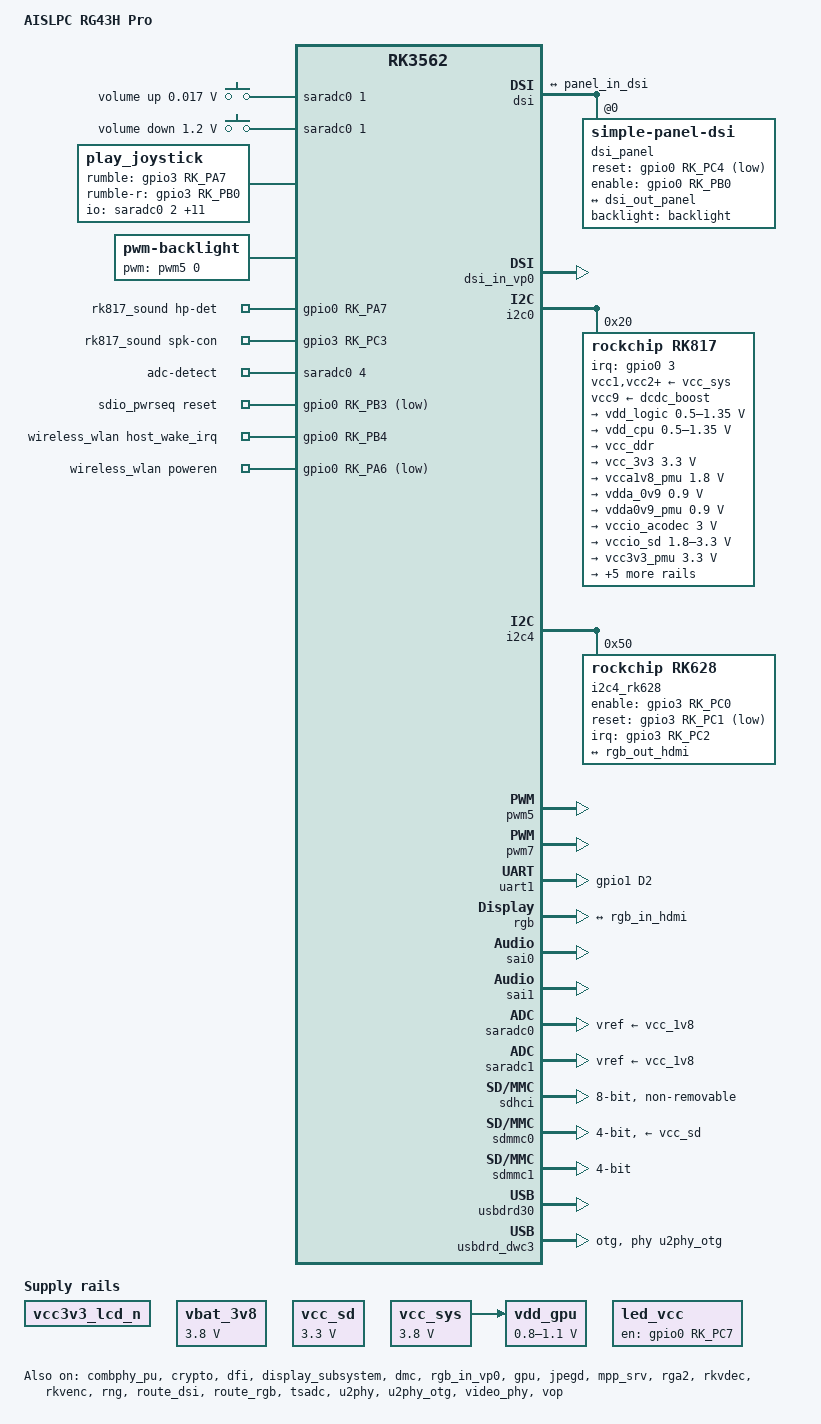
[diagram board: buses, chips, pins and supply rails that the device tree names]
// SPDX-License-Identifier: (GPL-2.0+ OR MIT)
/*
* Copyright (c) 2024 dArkOS Contributors
*
* Shared device tree include for dArkOS gaming handhelds based on
* Rockchip RK3562 with RK817 PMIC.  Included by both rk3562-rg52mini.dts
* (portrait 720x1280 panel) and rk3562-rg43h.dts (landscape 1024x768 panel).
*
* Per-device DTS files override:
*   - vcc3v3_lcd_n (gpios, enable-active-*, pinctrl-0)
*   - DSI panel (panel-init-sequence, display-timings, power-supply/enable-gpios, pinctrl-0)
*   - play_joystick node (entirely per-device)
*/

/dts-v1/;
#include "rk3562.dtsi"
#include "rk3562-linux.dtsi"
#include <dt-bindings/display/drm_mipi_dsi.h>
#include <dt-bindings/gpio/gpio.h>
#include <dt-bindings/input/input.h>
#include <dt-bindings/pinctrl/rockchip.h>

/ {
	model = "AISLPC RG43H Pro";
	compatible = "aislpc,rg43h-pro", "rockchip,rk3562";
	
	adc_keys: adc-keys {
		compatible = "adc-keys";
		io-channels = <&saradc0 1>;
		io-channel-names = "buttons";
		keyup-threshold-microvolt = <1800000>;
		poll-interval = <100>;
		/* 音量键长按自动重复 (arkos4clone 4.4 同款; 5.10 adc-keys.c
		* 原生支持该属性, EV_REP 走 input 核心默认 500ms/33ms 节奏) */
		autorepeat;
		
		vol-up-key {
			linux,code = <KEY_VOLUMEUP>;
			label = "volume up";
			press-threshold-microvolt = <17000>;
		};
		
		vol-down-key {
			linux,code = <KEY_VOLUMEDOWN>;
			label = "volume down";
			press-threshold-microvolt = <1200000>;
		};
	};
	
	play_joystick {
		compatible = "play_joystick";
		pinctrl-names = "default";
		pinctrl-0 = <&gpio_key_pin &moto_gpio &moto_r_gpio>;
		
		/* 摇杆轴 + 模拟扳机 + ADC 面键通道 (ADC 键通道名 = 子节点名) */
		io-channels = <&saradc0 2>, <&saradc0 3>,
		<&saradc0 5>, <&saradc0 6>,
		<&saradc1 1>, <&saradc1 4>,
		<&saradc1 0>, <&saradc1 2>, <&saradc1 3>,
		<&saradc1 5>, <&saradc1 6>, <&saradc1 7>;
		io-channel-names = "joy_x", "joy_y", "joy_rx", "joy_ry",
		"l2-abs", "r2-abs",
		"left-key", "right-key", "down-key",
		"b-key", "x-key", "y-key";
		
		poll-interval = <16>;
		axis-min-value-mv = <250>;
		axis-max-value-mv = <1550>;
		axis-dead-zone-l = <790>;
		axis-dead-zone-h = <1010>;
		l2-r2-max-value-mv = <800>;
		invert-absx;
		invert-absy;
		
		/* 振动马达 (左/右) */
		rumble-gpios = <&gpio3 RK_PA7 GPIO_ACTIVE_HIGH>;
		rumble-r-gpios = <&gpio3 RK_PB0 GPIO_ACTIVE_HIGH>;
		
	sw1 { label = "BTN_L1"; gpios = <&gpio1 RK_PC7 GPIO_ACTIVE_LOW>; linux,code = <BTN_TL>; };
	sw2 { label = "BTN_R1"; gpios = <&gpio1 RK_PD5 GPIO_ACTIVE_LOW>; linux,code = <BTN_TR>; };
		/* A (East) 是 GPIO; 物理 B (South) 走 ADC b-key —
		* 方位正确: East 发 EAST, South 发 SOUTH */
	sw3 { label = "BTN_A"; gpios = <&gpio1 RK_PD6 GPIO_ACTIVE_LOW>; linux,code = <BTN_EAST>; };
	sw4 { label = "BTN_SELECT"; gpios = <&gpio1 RK_PD3 GPIO_ACTIVE_LOW>; linux,code = <BTN_SELECT>; };
	sw5 { label = "BTN_START"; gpios = <&gpio1 RK_PD7 GPIO_ACTIVE_LOW>; linux,code = <BTN_START>; };
	sw6 { label = "BTN_HOME"; gpios = <&gpio1 RK_PD4 GPIO_ACTIVE_LOW>; linux,code = <BTN_MODE>; };
	sw7 { label = "BTN_L3"; gpios = <&gpio0 RK_PC5 GPIO_ACTIVE_LOW>; linux,code = <BTN_THUMBL>; };
	sw8 { label = "BTN_R3"; gpios = <&gpio0 RK_PC6 GPIO_ACTIVE_LOW>; linux,code = <BTN_THUMBR>; };
	sw9 { label = "BTN_DPAD_UP"; gpios = <&gpio1 RK_PD0 GPIO_ACTIVE_LOW>; linux,code = <BTN_DPAD_UP>; };
		
		/* ADC 电阻梯面键 (通道名 = 节点名) — RG43H 阈值较宽 (600mV) */
	left-key { label = "BTN_DPAD_LEFT"; linux,code = <BTN_DPAD_LEFT>; press-threshold-microvolt = <600000>; };
	right-key { label = "BTN_DPAD_RIGHT"; linux,code = <BTN_DPAD_RIGHT>; press-threshold-microvolt = <600000>; };
	down-key { label = "BTN_DPAD_DOWN"; linux,code = <BTN_DPAD_DOWN>; press-threshold-microvolt = <600000>; };
	b-key { label = "BTN_B"; linux,code = <BTN_SOUTH>; press-threshold-microvolt = <600000>; };
	x-key { label = "BTN_X"; linux,code = <BTN_NORTH>; press-threshold-microvolt = <600000>; };
	y-key { label = "BTN_Y"; linux,code = <BTN_WEST>; press-threshold-microvolt = <600000>; };
	};
	
	backlight: backlight {
		compatible = "pwm-backlight";
		pwms = <&pwm5 0 25000 0>;
		brightness-levels = <
		0  20  20  21  21  22  22  23
		23  24  24  25  25  26  26  27
		27  28  28  29  29  30  30  31
		31  32  32  33  33  34  34  35
		35  36  36  37  37  38  38  39
		40  41  42  43  44  45  46  47
		48  49  50  51  52  53  54  55
		56  57  58  59  60  61  62  63
		64  65  66  67  68  69  70  71
		72  73  74  75  76  77  78  79
		80  81  82  83  84  85  86  87
		88  89  90  91  92  93  94  95
		96  97  98  99 100 101 102 103
		104 105 106 107 108 109 110 111
		112 113 114 115 116 117 118 119
		120 121 122 123 124 125 126 127
		128 129 130 131 132 133 134 135
		136 137 138 139 140 141 142 143
		144 145 146 147 148 149 150 151
		152 153 154 155 156 157 158 159
		160 161 162 163 164 165 166 167
		168 169 170 171 172 173 174 175
		176 177 178 179 180 181 182 183
		184 185 186 187 188 189 190 191
		192 193 194 195 196 197 198 199
		200 201 202 203 204 205 206 207
		208 209 210 211 212 213 214 215
		216 217 218 219 220 221 222 223
		224 225 226 227 228 229 230 231
		232 233 234 235 236 237 238 239
		240 241 242 243 244 245 246 247
		248 249 250 251 252 253 254 255
		>;
		default-brightness-level = <200>;
	};

	power-leds {
		compatible = "led-3562";
		battery-threshold = <20>;

		led-red {
			label = "red";
			gpios = <&gpio3 RK_PA1 GPIO_ACTIVE_HIGH>;
			on-below-threshold;
		};

		led-green {
			label = "green";
			gpios = <&gpio3 RK_PA0 GPIO_ACTIVE_HIGH>;
		};

	};
	
	pdm_codec: dummy-codec {
		status = "okay";
		compatible = "rockchip,dummy-codec";
		#sound-dai-cells = <0>;
	};
	
	pdm_mic_array: pdm-mic-array {
		status = "disabled";
		compatible = "simple-audio-card";
		simple-audio-card,name = "rockchip,pdm-mic-array";
		
		simple-audio-card,cpu {
			sound-dai = <&pdm>;
		};
		
		simple-audio-card,codec {
			sound-dai = <&pdm_codec>;
		};
	};
	
	spdif_out: spdif-out {
		status = "disabled";
		compatible = "linux,spdif-dit";
		#sound-dai-cells = <0>;
	};
	
	spdif_sound: spdif-sound {
		status = "disabled";
		compatible = "simple-audio-card";
		simple-audio-card,name = "rk-spdif-sound";
		simple-audio-card,mclk-fs = <128>;
		
		simple-audio-card,cpu {
			sound-dai = <&spdif_8ch>;
		};
		
		simple-audio-card,codec {
			sound-dai = <&spdif_out>;
		};
	};
	
	test-power {
		status = "okay";
	};
	
	/*
	* LCD voltage regulator skeleton.  Per-device DTS files add gpios,
	* enable-active-low/high, pinctrl-0, and status = "okay".
	*/
	vcc3v3_lcd_n: vcc3v3-lcd0-n {
		compatible = "regulator-fixed";
		regulator-name = "vcc3v3_lcd_n";
		regulator-boot-on;
		
		regulator-state-mem {
			regulator-off-in-suspend;
		};
	};
	
	rk817_sound: rk817-sound {
		status = "okay";
		compatible = "rockchip,multicodecs-card";
		rockchip,card-name = "rockchip-rk817";
		hp-det-gpio = <&gpio0 RK_PA7 GPIO_ACTIVE_HIGH>;
		io-channels = <&saradc0 4>;
		io-channel-names = "adc-detect";
		keyup-threshold-microvolt = <1800000>;
		poll-interval = <100>;
		rockchip,format = "i2s";
		rockchip,mclk-fs = <256>;
		rockchip,cpu = <&sai0>;
		rockchip,codec = <&rk817_codec>;
		pinctrl-names = "default";
		spk-con-gpios = <&gpio3 RK_PC3 GPIO_ACTIVE_HIGH>;
		pinctrl-0 = <&hp_det &hp_con>;
		rockchip,audio-routing =
		"Headphone", "HPOL",
		"Headphone", "HPOR",
		"Speaker", "HPOL",
		"Speaker", "HPOR";
		
		play-pause-key {
			label = "playpause";
			linux,code = <KEY_PLAYPAUSE>;
			press-threshold-microvolt = <2000>;
		};
	};
	
	rk628_sound: rk628-sound {
		compatible = "simple-audio-card";
		simple-audio-card,format = "i2s";
		simple-audio-card,mclk-fs = <128>;
		simple-audio-card,name = "rockchip,hdmi-rk628";
		status = "okay";
		
		simple-audio-card,cpu {
			sound-dai = <&sai1>;
		};
		
		simple-audio-card,codec {
			sound-dai = <&i2c4_rk628>;
		};
	};
	
	sdio_pwrseq: sdio-pwrseq {
		compatible = "mmc-pwrseq-simple";
		clocks = <&rk817 1>;
		clock-names = "ext_clock";
		pinctrl-names = "default";
		pinctrl-0 = <&wifi_enable_h>;
		post-power-on-delay-ms = <200>;
		reset-gpios = <&gpio0 RK_PB3 GPIO_ACTIVE_LOW>;
	};
	
	vbat_3v8: vbat-3v8 {
		compatible = "regulator-fixed";
		regulator-name = "vbat_3v8";
		regulator-always-on;
		regulator-boot-on;
		regulator-min-microvolt = <3800000>;
		regulator-max-microvolt = <3800000>;
	};
	
	vcc_sd: vcc-sd {
		compatible = "regulator-gpio";
		enable-active-low;
		regulator-boot-on;
		gpios = <&gpio0 RK_PA5 GPIO_ACTIVE_LOW>;
		regulator-min-microvolt = <3300000>;
		regulator-max-microvolt = <3300000>;
		pinctrl-names = "default";
		pinctrl-0 = <&vcc_sd_h>;
		regulator-name = "vcc_sd";
		states = <0 0x0
		3300000 0x1>;
	};
	
	vcc_sys: vcc-sys {
		compatible = "regulator-fixed";
		regulator-name = "vcc_sys";
		regulator-always-on;
		regulator-boot-on;
		regulator-min-microvolt = <3800000>;
		regulator-max-microvolt = <3800000>;
	};
	
	vdd_gpu: vdd-gpu {
		compatible = "pwm-regulator";
		pwms = <&pwm7 0 5000 1>;
		regulator-name = "vdd_gpu";
		regulator-min-microvolt = <800000>;
		regulator-max-microvolt = <1100000>;
		regulator-init-microvolt = <900000>;
		regulator-always-on;
		regulator-boot-on;
		regulator-settling-time-up-us = <250>;
		pwm-supply = <&vcc_sys>;
		status = "okay";
	};
	
	vdd_npu: vdd-npu {
		compatible = "pwm-regulator";
		pwms = <&pwm6 0 5000 1>;
		regulator-name = "vdd_npu";
		regulator-min-microvolt = <800000>;
		regulator-max-microvolt = <1100000>;
		regulator-init-microvolt = <900000>;
		regulator-settling-time-up-us = <250>;
		pwm-supply = <&vcc_sys>;
		status = "disabled";
	};
	
	led_vcc: led-vcc {
		compatible = "regulator-fixed";
		regulator-name = "vcc-led";
		pinctrl-0 = <&led_en_gpio>;
		pinctrl-names = "default";
		gpios = <&gpio0 RK_PC7 GPIO_ACTIVE_HIGH>;
		enable-active-high;
	};
	
	wireless_wlan: wireless-wlan {
		compatible = "wlan-platdata";
		rockchip,grf = <&sys_grf>;
		/* Rev A is RK915, rev B is AIC8800D80. rfkill is the only consumer
		* and only prefix-matches "rtl..."; aic8800 binds by SDIO vendor ID.
		* "aic8800D80" matches the silicon (fmacfw_8800d80_h_u02.bin). */
		wifi_chip_type = "aic8800D80";
		pinctrl-names = "default";
		pinctrl-0 = <&wifi_host_wake_irq &wifi_poweren_gpio>;
		WIFI,host_wake_irq = <&gpio0 RK_PB4 GPIO_ACTIVE_HIGH>;
		WIFI,poweren_gpio = <&gpio0 RK_PA6 GPIO_ACTIVE_LOW>;
		sdio_vref = <1800>;
		status = "okay";
	};
	
	wireless-bluetooth {
		compatible = "bluetooth-platdata";
		status = "disabled";
	};
	
	charge_anim: charge-animation {
		compatible = "rockchip,uboot-charge";
		rockchip,uboot-charge-on = <1>;
		rockchip,android-charge-on = <0>;
		rockchip,uboot-low-power-voltage = <3450>;
		rockchip,screen-on-voltage = <3500>;
		status = "okay";
	};
	
	rockchip_suspend: rockchip-suspend {
		compatible = "rockchip,pm-rk3562";
		status = "disabled";
		rockchip,sleep-debug-en = <1>;
		rockchip,sleep-mode-config = <0x5e2>;
		rockchip,wakeup-config = <0x10>;
	};
};

/* ---- SoC peripheral enables ------------------------------------------- */

&cpu0 {
	cpu-supply = <&vdd_cpu>;
};

&combphy_pu {
	status = "okay";
};

&crypto {
	status = "okay";
};

&dfi {
	status = "okay";
};

&display_subsystem {
	status = "okay";
};

&dmc {
	center-supply = <&vdd_logic>;
	status = "okay";
};

&dsi {
	status = "okay";
	
	dsi_panel: panel@0 {
		status = "okay";
		compatible = "simple-panel-dsi";
		reg = <0>;
		backlight = <&backlight>;
		reset-delay-ms = <20>;
		enable-delay-ms = <120>;
		prepare-delay-ms = <20>;
		unprepare-delay-ms = <20>;
		disable-delay-ms = <20>;
		init-delay-ms = <20>;
		width-mm = <68>;
		height-mm = <121>;
		dsi,flags = <(MIPI_DSI_MODE_VIDEO | MIPI_DSI_MODE_VIDEO_BURST |
		MIPI_DSI_MODE_LPM | MIPI_DSI_MODE_EOT_PACKET)>;
		dsi,format = <MIPI_DSI_FMT_RGB888>;
		dsi,lanes = <4>;
		reset-gpios = <&gpio0 RK_PC4 GPIO_ACTIVE_LOW>;
		pinctrl-names = "default";
		pinctrl-0 = <&lcd_rst_gpio &lcd_powerctrl_gpio>;
		enable-gpios = <&gpio0 RK_PB0 GPIO_ACTIVE_HIGH>;
		
		panel-init-sequence = [
		15 00 02 ee 01
		15 00 02 ea 07
		15 00 02 eb 12
		15 00 02 0a 5e
		15 00 02 13 14
		15 00 02 17 35
		15 00 02 1d 33
		15 00 02 21 01
		15 00 02 28 28
		15 00 02 29 18
		15 00 02 2a 63
		15 00 02 2f f3
		15 00 02 ee 02
		15 00 02 39 a9
		15 00 02 00 00
		15 00 02 01 0d
		15 00 02 02 12
		15 00 02 03 08
		15 00 02 04 0e
		15 00 02 05 30
		15 00 02 06 0b
		15 00 02 07 0e
		15 00 02 08 0f
		15 00 02 09 0e
		15 00 02 0a 11
		15 00 02 0b 4e
		15 00 02 0c 14
		15 00 02 0d 1a
		15 00 02 0e 2f
		15 00 02 0f 36
		15 00 02 10 3f
		15 00 02 20 00
		15 00 02 21 0d
		15 00 02 22 12
		15 00 02 23 08
		15 00 02 24 0e
		15 00 02 25 30
		15 00 02 26 0b
		15 00 02 27 0e
		15 00 02 28 0f
		15 00 02 29 0e
		15 00 02 2a 11
		15 00 02 2b 4e
		15 00 02 2c 14
		15 00 02 2d 1a
		15 00 02 2e 2f
		15 00 02 2f 36
		15 00 02 30 3f
		15 00 02 ee 04
		15 00 02 00 05
		15 00 02 01 01
		15 00 02 02 80
		15 00 02 03 04
		15 00 02 04 00
		15 00 02 06 06
		15 00 02 07 05
		15 00 02 08 1a
		15 00 02 09 20
		15 00 02 0a 0e
		15 00 02 0b 00
		15 00 02 20 40
		15 00 02 24 08
		15 00 02 ee 05
		15 00 02 00 01
		15 00 02 01 09
		15 00 02 02 05
		15 00 02 03 05
		15 00 02 07 05
		15 00 02 08 0d
		15 00 02 09 00
		15 00 02 0a 12
		15 00 02 0b 14
		15 00 02 0c 66
		15 00 02 10 03
		15 00 02 11 07
		15 00 02 12 05
		15 00 02 13 05
		15 00 02 19 12
		15 00 02 1a f6
		15 00 02 40 55
		15 00 02 41 00
		15 00 02 43 03
		15 00 02 44 01
		15 00 02 45 81
		15 00 02 46 06
		15 00 02 47 00
		15 00 02 ee 06
		15 00 02 00 45
		15 00 02 02 01
		15 00 02 04 88
		15 00 02 06 cd
		15 00 02 08 ef
		15 00 02 09 cd
		15 00 02 0a ab
		15 00 02 0b 89
		15 00 02 0c 67
		15 00 02 0d 45
		15 00 02 0e 23
		15 00 02 0f 01
		15 00 02 ee 07
		15 00 02 00 3c
		15 00 02 01 3c
		15 00 02 02 3c
		15 00 02 03 3c
		15 00 02 04 0d
		15 00 02 05 3c
		15 00 02 06 3c
		15 00 02 07 3c
		15 00 02 08 08
		15 00 02 09 10
		15 00 02 0a 12
		15 00 02 0b 14
		15 00 02 0c 16
		15 00 02 0d 18
		15 00 02 0e 1a
		15 00 02 0f 1c
		15 00 02 10 1e
		15 00 02 11 04
		15 00 02 12 00
		15 00 02 13 3c
		15 00 02 14 0c
		15 00 02 15 3c
		15 00 02 20 3c
		15 00 02 21 3c
		15 00 02 22 3c
		15 00 02 23 3c
		15 00 02 24 0d
		15 00 02 25 3c
		15 00 02 26 3c
		15 00 02 27 3c
		15 00 02 28 08
		15 00 02 29 11
		15 00 02 2a 13
		15 00 02 2b 15
		15 00 02 2c 17
		15 00 02 2d 19
		15 00 02 2e 1b
		15 00 02 2f 1d
		15 00 02 30 1f
		15 00 02 31 05
		15 00 02 32 01
		15 00 02 33 3c
		15 00 02 34 0c
		15 00 02 35 3c
		15 00 02 ee 08
		15 00 02 10 00
		15 00 02 12 dc
		15 00 02 13 1c
		15 00 02 17 23
		15 00 02 18 20
		15 00 02 20 80
		15 00 02 ee 0f
		15 00 02 00 01
		15 00 02 01 00
		15 00 02 ee 00
		15 00 02 ea 00
		15 00 02 eb 00
		15 00 02 36 00
		05 c8 01 11
		05 14 01 29
		];
		
		/*
		* panel-init-sequence, power-supply / enable-gpios, and
		* pinctrl-0 are set per-device.
		*/
		
		panel-exit-sequence = [
		05 00 01 28
		05 00 01 10
		];
		
		disp_timings0: display-timings {
			native-mode = <&dsi_timing0>;
			
			/* Defaults from RG52 Mini; overridden per-device */
			dsi_timing0: timing0 {
				clock-frequency = <61152000>;
				hactive = <1024>;
				vactive = <768>;
				hfront-porch = <90>;
				hsync-len = <80>;
				hback-porch = <80>;
				vfront-porch = <16>;
				vsync-len = <8>;
				vback-porch = <8>;
				hsync-active = <0>;
				vsync-active = <0>;
				de-active = <0>;
				pixelclk-active = <0>;
			};
		};
		
		ports {
			#address-cells = <1>;
			#size-cells = <0>;
			
			port@0 {
				reg = <0>;
				
				panel_in_dsi: endpoint {
					remote-endpoint = <&dsi_out_panel>;
				};
			};
		};
	};
	
	ports {
		#address-cells = <1>;
		#size-cells = <0>;
		
		port@1 {
			reg = <1>;
			
			dsi_out_panel: endpoint {
				remote-endpoint = <&panel_in_dsi>;
			};
		};
	};
};

&dsi_in_vp0 {
	status = "okay";
};

&rgb_in_vp0 {
	status = "okay";
};

&gpu {
	status = "okay";
	mali-supply = <&vdd_gpu>;
};

&i2c0 {
	status = "okay";
	
	rk817: pmic@20 {
		compatible = "rockchip,rk817";
		reg = <0x20>;
		interrupt-parent = <&gpio0>;
		interrupts = <3 IRQ_TYPE_LEVEL_LOW>;
		
		pinctrl-names = "default", "pmic-sleep",
		"pmic-power-off", "pmic-reset";
		pinctrl-0 = <&pmic_int>;
		pinctrl-1 = <&soc_slppin_slp>, <&rk817_slppin_slp>;
		pinctrl-2 = <&soc_slppin_gpio>, <&rk817_slppin_pwrdn>;
		pinctrl-3 = <&soc_slppin_gpio>, <&rk817_slppin_rst>;
		rockchip,system-power-controller;
		wakeup-source;
		#clock-cells = <1>;
		clock-output-names = "rk808-clkout1", "rk808-clkout2";
		/* 1: rst regs (default in codes), 0: rst the pmic */
		pmic-reset-func = <0>;
		vcc1-supply = <&vcc_sys>;
		vcc2-supply = <&vcc_sys>;
		vcc3-supply = <&vcc_sys>;
		vcc4-supply = <&vcc_sys>;
		vcc5-supply = <&vcc_sys>;
		vcc6-supply = <&vcc_sys>;
		vcc7-supply = <&vcc_sys>;
		vcc8-supply = <&vcc_sys>;
		vcc9-supply = <&dcdc_boost>;
		pwrkey {
			status = "okay";
		};
		
		pinctrl_rk8xx: pinctrl_rk8xx {
			gpio-controller;
			#gpio-cells = <2>;
			
			rk817_slppin_null: rk817_slppin_null {
				pins = "gpio_slp";
				function = "pin_fun0";
			};
			
			rk817_slppin_slp: rk817_slppin_slp {
				pins = "gpio_slp";
				function = "pin_fun1";
			};
			
			rk817_slppin_pwrdn: rk817_slppin_pwrdn {
				pins = "gpio_slp";
				function = "pin_fun2";
			};
			
			rk817_slppin_rst: rk817_slppin_rst {
				pins = "gpio_slp";
				function = "pin_fun3";
			};
			
			
			rk817_ts_gpio1: rk817_ts_gpio1 {
				pins = "gpio_ts";
				function = "pin_fun1";
			};
			
			rk817_pin_ts: rk817_pin_ts {
				pins = "gpio_ts";
				function = "pin_fun0";
			};
		};
		
		regulators {
			vdd_logic: DCDC_REG1 {
				regulator-always-on;
				regulator-boot-on;
				regulator-min-microvolt = <500000>;
				regulator-max-microvolt = <1350000>;
				regulator-init-microvolt = <950000>;
				regulator-ramp-delay = <6001>;
				regulator-initial-mode = <0x2>;
				regulator-name = "vdd_logic";
				regulator-state-mem {
					regulator-off-in-suspend;
					regulator-suspend-microvolt = <900000>;
				};
			};
			
			vdd_cpu: DCDC_REG2 {
				regulator-always-on;
				regulator-boot-on;
				regulator-min-microvolt = <500000>;
				regulator-max-microvolt = <1350000>;
				regulator-init-microvolt = <1050000>;
				regulator-ramp-delay = <6001>;
				regulator-initial-mode = <0x2>;
				regulator-name = "vdd_cpu";
				regulator-state-mem {
					regulator-off-in-suspend;
				};
			};
			
			vcc_ddr: DCDC_REG3 {
				regulator-always-on;
				regulator-boot-on;
				regulator-initial-mode = <0x2>;
				regulator-name = "vcc_ddr";
				regulator-state-mem {
					regulator-on-in-suspend;
				};
			};
			
			vcc_3v3: DCDC_REG4 {
				regulator-always-on;
				regulator-boot-on;
				regulator-min-microvolt = <3300000>;
				regulator-max-microvolt = <3300000>;
				regulator-initial-mode = <0x2>;
				regulator-name = "vcc_3v3";
				regulator-state-mem {
					regulator-on-in-suspend;
					regulator-suspend-microvolt = <3300000>;
				};
			};
			
			vcca1v8_pmu: LDO_REG1 {
				regulator-always-on;
				regulator-boot-on;
				regulator-min-microvolt = <1800000>;
				regulator-max-microvolt = <1800000>;
				regulator-name = "vcca1v8_pmu";
				regulator-state-mem {
					regulator-on-in-suspend;
					regulator-suspend-microvolt = <1800000>;
				};
			};
			
			vdda_0v9: LDO_REG2 {
				regulator-always-on;
				regulator-boot-on;
				regulator-min-microvolt = <900000>;
				regulator-max-microvolt = <900000>;
				regulator-name = "vdda_0v9";
				regulator-state-mem {
					regulator-off-in-suspend;
				};
			};
			
			vdda0v9_pmu: LDO_REG3 {
				regulator-always-on;
				regulator-boot-on;
				regulator-min-microvolt = <900000>;
				regulator-max-microvolt = <900000>;
				regulator-name = "vdda0v9_pmu";
				regulator-state-mem {
					regulator-on-in-suspend;
					regulator-suspend-microvolt = <900000>;
				};
			};
			
			vccio_acodec: LDO_REG4 {
				regulator-always-on;
				regulator-boot-on;
				regulator-min-microvolt = <3000000>;
				regulator-max-microvolt = <3000000>;
				regulator-name = "vccio_acodec";
				regulator-state-mem {
					regulator-off-in-suspend;
				};
			};
			
			vccio_sd: LDO_REG5 {
				regulator-always-on;
				regulator-boot-on;
				regulator-min-microvolt = <1800000>;
				regulator-max-microvolt = <3300000>;
				regulator-name = "vccio_sd";
				regulator-state-mem {
					regulator-off-in-suspend;
				};
			};
			
			vcc3v3_pmu: LDO_REG6 {
				regulator-always-on;
				regulator-boot-on;
				regulator-min-microvolt = <3300000>;
				regulator-max-microvolt = <3300000>;
				regulator-name = "vcc3v3_pmu";
				regulator-state-mem {
					regulator-on-in-suspend;
					regulator-suspend-microvolt = <3000000>;
				};
			};
			
			vcc_1v8: LDO_REG7 {
				regulator-always-on;
				regulator-boot-on;
				regulator-min-microvolt = <1800000>;
				regulator-max-microvolt = <1800000>;
				regulator-name = "vcc_1v8";
				regulator-state-mem {
					regulator-off-in-suspend;
				};
			};
			
			vcc1v8_dvp: LDO_REG8 {
				regulator-min-microvolt = <1800000>;
				regulator-max-microvolt = <1800000>;
				regulator-name = "vcc1v8_dvp";
				regulator-state-mem {
					regulator-off-in-suspend;
				};
			};
			
			vcc2v8_dvp: LDO_REG9 {
				regulator-min-microvolt = <2800000>;
				regulator-max-microvolt = <2800000>;
				regulator-name = "vcc2v8_dvp";
				regulator-state-mem {
					regulator-off-in-suspend;
				};
			};
			
			dcdc_boost: BOOST {
				regulator-always-on;
				regulator-boot-on;
				regulator-min-microvolt = <4700000>;
				regulator-max-microvolt = <5400000>;
				regulator-name = "boost";
				regulator-state-mem {
					regulator-off-in-suspend;
				};
			};
			
			otg_switch: OTG_SWITCH {
				regulator-name = "otg_switch";
				regulator-state-mem {
					regulator-off-in-suspend;
				};
			};
		};
		battery {
			compatible = "rk817,battery";
			ocv_table = <3500 3529 3570 3605 3644 3687 3738 3789
			3823 3847 3871 3903 3926 3957 3999 4027
			4036 4041 4054 4090 4175>;
			design_capacity = <2906>;
			design_qmax = <3197>;
			bat_res = <102>;
			sleep_enter_current = <300>;
			sleep_exit_current = <300>;
			sleep_filter_current = <100>;
			power_off_thresd = <3500>;
			zero_algorithm_vol = <3850>;
			max_soc_offset = <60>;
			monitor_sec = <5>;
			sample_res = <10>;
			virtual_power = <0>;
		};
		
		charger {
			compatible = "rk817,charger";
			min_input_voltage = <4500>;
			max_input_current = <1500>;
			max_chrg_current = <1500>;
			max_chrg_voltage = <4280>;
			chrg_term_mode = <0>;
			chrg_finish_cur = <300>;
			virtual_power = <0>;
			dc_det_adc = <0>;
			otg5v_suspend_enable = <1>;
			extcon = <&u2phy>;
			gate_function_disable = <1>;
		};
		rk817_codec: codec {
			#sound-dai-cells = <0>;
			compatible = "rockchip,rk817-codec";
			clocks = <&mclkout_sai0>;
			clock-names = "mclk";
			assigned-clocks = <&mclkout_sai0>;
			assigned-clock-rates = <12288000>;
			pinctrl-names = "default";
			pinctrl-0 = <&i2s0m0_mclk>;
			spk-volume = <3>;
			mic-in-differential;
			use-ext-amplifier;
			hp2extamplifier;
			hp-mute-delay-ms = <100>;
			hp-volume = <60>;
			status = "okay";
		};
	};
};

&i2c4 {
	status = "okay";
	
	i2c4_rk628: rk628@50 {
		status = "okay";
		compatible = "rockchip,rk628";
		reg = <0x50>;
		#sound-dai-cells = <0>;
		interrupt-parent = <&gpio3>;
		interrupts = <RK_PC2 IRQ_TYPE_LEVEL_HIGH>;
		enable-gpios = <&gpio3 RK_PC0 GPIO_ACTIVE_HIGH>;
		reset-gpios = <&gpio3 RK_PC1 GPIO_ACTIVE_LOW>;
		pinctrl-names = "default";
		pinctrl-0 = <&rk628_reset &refclk_pins>;
		assigned-clocks = <&cru CLK_PMU1_WIFI>;
		assigned-clock-rates = <24000000>;
		clocks = <&cru CLK_PMU1_WIFI>;
		clock-names = "soc_24M";
		rk628-rgb-in;
		rk628-hdmi-out;
		
		port {
			rgb_in_hdmi: endpoint {
				remote-endpoint = <&rgb_out_hdmi>;
			};
		};
	};
};

&jpegd {
	status = "okay";
};

&jpegd_mmu {
	status = "okay";
};

&mpp_srv {
	status = "okay";
};

/* pwm4 is enabled per-device -- only the RG52 Mini uses it (chassis fan).
* RG43H Pro has no fan, so we don't claim GPIO1_D1 there. */

&pwm5 {
	status = "okay";
};

/* pwm6 left disabled — drives vdd_npu, NPU is unused */

&pwm7 {
	status = "okay";
};

/* uart1 (ttyS1) -- TX-only serial link to the analog-stick RGB LED MCU.
* Enabled on both devices; the LED feature itself is OFF by default (the
* vcc-led rail stays down until the user turns it on from Options > LED
* Settings). Only uart1_tx is muxed (see mcu_uart_tx) so the RG52 Mini fan
* keeps GPIO1_D1. /usr/local/bin/ledctl drives it at 9600 8N1. */
&uart1 {
	pinctrl-names = "default";
	pinctrl-0 = <&mcu_uart_tx>;
	status = "okay";
};

&rga2 {
	status = "okay";
};

&rga2_mmu {
	status = "okay";
};

/* rknpu + rknpu_mmu left disabled — NPU is unused, saves power */

&rkvdec {
	status = "okay";
};

&rkvdec_mmu {
	status = "okay";
};

&rkvenc {
	status = "okay";
};

&rkvenc_mmu {
	status = "okay";
};

&rng {
	status = "okay";
};

&route_dsi {
	status = "okay";
};

&route_rgb {
	status = "okay";
};

&rgb {
	status = "okay";
	pinctrl-names = "default";
	pinctrl-0 = <&rgb666_pins>;
	
	ports {
		port@1 {
			reg = <1>;
			
			rgb_out_hdmi: endpoint {
				remote-endpoint = <&rgb_in_hdmi>;
			};
		};
	};
};

&sai0 {
	status = "okay";
	pinctrl-names = "default";
	pinctrl-0 = <&i2s0m0_lrck
	&i2s0m0_sclk
	&i2s0m0_sdi0
	&i2s0m0_sdo0>;
};

&sai1 {
	status = "okay";
	pinctrl-names = "default";
	pinctrl-0 = <&i2s1m0_lrck
	&i2s1m0_sclk
	&i2s1m0_sdi0
	&i2s1m0_sdo0>;
};

&saradc0 {
	status = "okay";
	vref-supply = <&vcc_1v8>;
};

&saradc1 {
	status = "okay";
	vref-supply = <&vcc_1v8>;
};

&sdhci {
	bus-width = <8>;
	no-sdio;
	no-sd;
	non-removable;
	max-frequency = <200000000>;
	mmc-hs400-1_8v;
	mmc-hs400-enhanced-strobe;
	full-pwr-cycle-in-suspend;
	status = "okay";
};

&sdmmc0 {
	no-sdio;
	no-mmc;
	bus-width = <4>;
	cap-mmc-highspeed;
	cap-sd-highspeed;
	disable-wp;
	sd-uhs-sdr104;
	vmmc-supply = <&vcc_sd>;
	vqmmc-supply = <&vccio_sd>;
	pinctrl-names = "default";
	pinctrl-0 = <&sdmmc0_bus4 &sdmmc0_clk &sdmmc0_cmd &sdmmc0_det>;
	status = "okay";
};

&sdmmc1 {
	no-sd;
	no-mmc;
	bus-width = <4>;
	disable-wp;
	cap-sd-highspeed;
	cap-sdio-irq;
	keep-power-in-suspend;
	mmc-pwrseq = <&sdio_pwrseq>;
	broken-cd;
	pinctrl-names = "default";
	pinctrl-0 = <&sdmmc1_bus4 &sdmmc1_cmd &sdmmc1_clk>;
	sd-uhs-sdr104;
	supports-sdio;
	supports-rk912;
	status = "okay";
};

&tsadc {
	status = "okay";
};

&u2phy {
	status = "okay";
};

&u2phy_host {
	status = "disabled";
};

&u2phy_otg {
	status = "okay";
};

&usb_host0_ehci {
	status = "disabled";
};

&usb_host0_ohci {
	status = "disabled";
};

&usbdrd30 {
	status = "okay";
};

&usbdrd_dwc3 {
	status = "okay";
	dr_mode = "otg";
	extcon = <&u2phy>;
	maximum-speed = "high-speed";
	phys = <&u2phy_otg>;
	phy-names = "usb2-phy";
	snps,dis_u2_susphy_quirk;
	snps,usb2-lpm-disable;
};

&video_phy {
	status = "okay";
};

&vop {
	status = "okay";
};

&vop_mmu {
	status = "okay";
};

/* VOP port@0 — DSI connector: set plane-mask for all dArkOS devices */
&vp0 {
	rockchip,plane-mask = <0x30c>;
	rockchip,primary-plane = <0x02>;
};

/* ---- Pin control ------------------------------------------------------ */

&pinctrl {
	headphone {
		hp_det: hp-det {
			rockchip,pins = <0 RK_PA7 RK_FUNC_GPIO &pcfg_pull_up>;
		};
	};
	
	hp2extspeaker {
		hp_con: hp-con {
			rockchip,pins = <3 RK_PC3 RK_FUNC_GPIO &pcfg_pull_up>;
		};
	};
	
	lcd {
		lcd_rst_gpio: lcd-rst-gpio {
			rockchip,pins = <0 RK_PC4 RK_FUNC_GPIO &pcfg_pull_none>;
		};
		lcd_powerctrl_gpio: lcd-powerctrl-gpio {
			rockchip,pins = <0 RK_PB0 RK_FUNC_GPIO &pcfg_pull_none>;
		};
	};
	
	sdio-pwrseq {
		wifi_enable_h: wifi-enable-h {
			rockchip,pins = <0 RK_PB3 RK_FUNC_GPIO &pcfg_pull_none>;
		};
	};
	
	vcc_sd {
		vcc_sd_h: vcc-sd-h {
			rockchip,pins = <0 RK_PA5 RK_FUNC_GPIO &pcfg_pull_down>;
		};
	};
	
	wireless-wlan {
		wifi_host_wake_irq: wifi-host-wake-irq {
			rockchip,pins = <0 RK_PB4 RK_FUNC_GPIO &pcfg_pull_down>;
		};
		
		wifi_poweren_gpio: wifi-poweren-gpio {
			rockchip,pins = <0 RK_PA6 RK_FUNC_GPIO &pcfg_pull_up>;
		};
	};
	
	rk628 {
		rk628_reset: rk628-reset {
			rockchip,pins = <3 RK_PC1 RK_FUNC_GPIO &pcfg_pull_none>;
		};
		
		refclk_pins: refclk-pins {
			rockchip,pins = <0 RK_PA0 1 &pcfg_pull_none>;
		};
	};
	
	vcc-led {
		led_en_gpio: led-en-gpio {
			rockchip,pins = <0 RK_PC7 RK_FUNC_GPIO &pcfg_pull_up>;
		};
	};
	
	stick-led-mcu {
		/* uart1_tx_m0 (GPIO1_D2) ONLY. The stick-RGB LED MCU is a
		* write-only target (the mcu_led protocol never reads), so we
		* deliberately do NOT mux uart1_rx_m0 (GPIO1_D1). That leaves
		* GPIO1_D1 free for the RG52 Mini chassis fan (pwm4_m1), so the
		* fan and the LED MCU coexist on one UART pin pair. */
		mcu_uart_tx: mcu-uart-tx {
			rockchip,pins = <1 RK_PD2 1 &pcfg_pull_up>;
		};
	};
	
	fan {
		fan_vcc_en_gpio: fan-vcc-en-gpio {
			rockchip,pins = <0 RK_PC3 RK_FUNC_GPIO &pcfg_pull_none>;
		};
		
		fan_det_gpio: fan-det-gpio {
			rockchip,pins = <2 RK_PA1 RK_FUNC_GPIO &pcfg_pull_up>;
		};
	};
	
	charge-led {
		charge_led_gpio: charge-led-gpio {
			rockchip,pins =
			<3 RK_PA0 RK_FUNC_GPIO &pcfg_pull_up>,
			<3 RK_PA1 RK_FUNC_GPIO &pcfg_pull_up>;
		};
	};
	
	buttons {
		/*
		* All 10 button GPIOs are listed here (RG52 Mini has 10,
		* RG43H Pro has 9).  The joystick driver node is per-device;
		* each button child node carries its own gpios property.
		*/
		gpio_key_pin: gpio-key-pin {
			rockchip,pins =
			<1 RK_PC7 RK_FUNC_GPIO &pcfg_pull_up>,
			<1 RK_PD0 RK_FUNC_GPIO &pcfg_pull_up>,
			<1 RK_PD5 RK_FUNC_GPIO &pcfg_pull_up>,
			<1 RK_PD6 RK_FUNC_GPIO &pcfg_pull_up>,
			<1 RK_PD3 RK_FUNC_GPIO &pcfg_pull_up>,
			<1 RK_PD7 RK_FUNC_GPIO &pcfg_pull_up>,
			<1 RK_PD4 RK_FUNC_GPIO &pcfg_pull_up>,
			<2 RK_PA0 RK_FUNC_GPIO &pcfg_pull_up>,
			<0 RK_PC5 RK_FUNC_GPIO &pcfg_pull_up>,
			<0 RK_PC6 RK_FUNC_GPIO &pcfg_pull_up>;
		};
		
		/* 主马达 GPIO3_A7 (各机型共用). 副马达/风扇轨脚位因板而异:
		* - rg52mini/rg43h: 副马达 GPIO3_B0 -> moto_r_gpio (各自 dts)
		* - ais: GPIO3_B0 是 fan_vcc 使能, 独占, 不进 moto 组
		* - ngp45ht: 单马达 GPIO0_B7 -> ngp_moto_gpio
		* 偏置用 pull_none (原厂同款): pull_up 会在 probe 前把
		* ACTIVE_HIGH 马达脚抬高 -> 上电常震. */
		moto_gpio: moto-gpio {
			rockchip,pins =
			<3 RK_PA7 RK_FUNC_GPIO &pcfg_pull_none>;
		};
		/* 副马达 GPIO3_B0 — 本机专属 (ais 板上此脚是 fan_vcc, 不得复用) */
		moto_r_gpio: moto-r-gpio {
			rockchip,pins =
			<3 RK_PB0 RK_FUNC_GPIO &pcfg_pull_none>;
		};
	};
};
